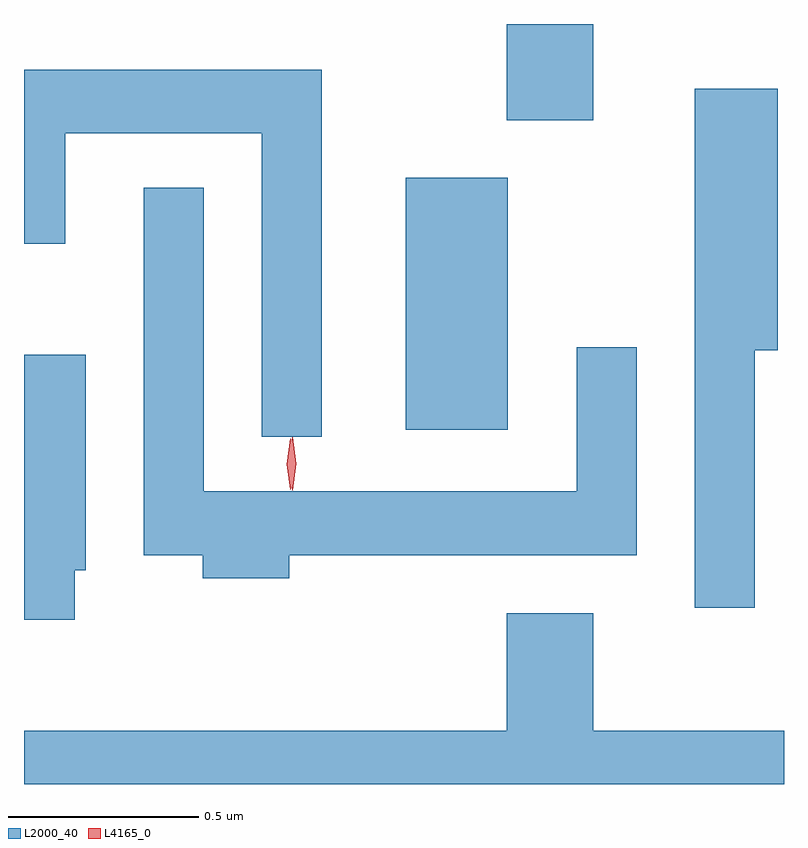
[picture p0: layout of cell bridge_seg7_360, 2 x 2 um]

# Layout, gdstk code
import gdstk
lib = gdstk.Library(unit=1e-6, precision=1e-09)
def R(c, l, rs):  # rectangles x0, y0, x1, y1
    for r in rs: c.add(gdstk.rectangle(r[:2], r[2:], *l))
def P(c, l, *ps):  # polygons
    for p in ps: c.add(gdstk.Polygon(p, *l))
L2000_40 = (2000, 40)
L4165_0 = (4165, 0)

bridge_seg7_360 = lib.new_cell('bridge_seg7_360')
R(bridge_seg7_360, L2000_40, [(1191.316,1775.316,1191.584,1775.979), (1191.581,1776.131,1191.809,1776.384)])
P(bridge_seg7_360, L2000_40, [(1191.094,1776.264),(1190.311,1776.264),(1190.311,1775.806),(1190.419,1775.806),(1190.419,1776.096),(1190.936,1776.096),(1190.936,1775.298),(1191.094,1775.298)],
  [(1192.234,1775.526),(1192.294,1775.526),(1192.294,1776.214),(1192.076,1776.214),(1192.076,1774.848),(1192.234,1774.848)],
  [(1191.009,1774.986),(1191.924,1774.986),(1191.924,1775.533),(1191.766,1775.533),(1191.766,1775.154),(1190.784,1775.154),(1190.784,1775.953),(1190.626,1775.953),(1190.626,1774.986),(1190.781,1774.986),(1190.781,1774.926),(1191.009,1774.926)],
  [(1190.444,1774.946),(1190.474,1774.946),(1190.474,1775.514),(1190.311,1775.514),(1190.311,1774.816),(1190.444,1774.816)],
  [(1192.311,1774.524),(1191.809,1774.524),(1191.809,1774.834),(1191.581,1774.834),(1191.581,1774.524),(1190.311,1774.524),(1190.311,1774.384),(1192.311,1774.384)])
P(bridge_seg7_360, L4165_0, [(1191.017,1775.157),(1191.017,1775.157),(1191.007,1775.227),(1191.017,1775.296),(1191.017,1775.296),(1191.018,1775.296),(1191.027,1775.227),(1191.018,1775.157)],
  [(1191.012,1775.159),(1191.012,1775.16),(1191.002,1775.226),(1191.012,1775.293),(1191.012,1775.293),(1191.013,1775.293),(1191.022,1775.226),(1191.013,1775.16)])

lib.write_gds('bridge_seg7_360.gds')
